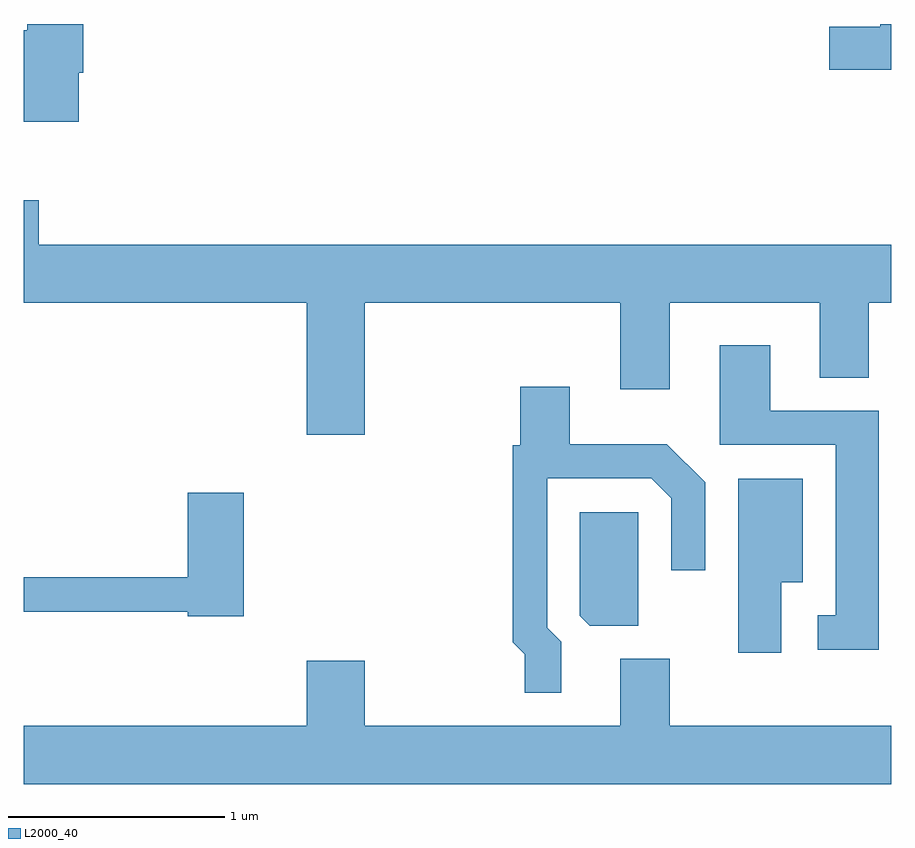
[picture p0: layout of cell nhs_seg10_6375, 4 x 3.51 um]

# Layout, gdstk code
import gdstk
lib = gdstk.Library(unit=1e-6, precision=1e-09)
def P(c, l, *ps):  # polygons
    for p in ps: c.add(gdstk.Polygon(p, *l))
L2000_40 = (2000, 40)

nhs_seg10_6375 = lib.new_cell('nhs_seg10_6375')
P(nhs_seg10_6375, L2000_40, [(377.611,2128.522),(377.561,2128.522),(377.561,2128.509),(377.326,2128.509),(377.326,2128.311),(377.611,2128.311)],
  [(373.864,2128.296),(373.884,2128.296),(373.884,2128.522),(373.626,2128.522),(373.626,2128.494),(373.611,2128.494),(373.611,2128.071),(373.864,2128.071)],
  [(375.184,2127.236),(376.361,2127.236),(376.361,2126.836),(376.589,2126.836),(376.589,2127.236),(377.281,2127.236),(377.281,2126.891),(377.509,2126.891),(377.509,2127.236),(377.611,2127.236),(377.611,2127.504),(373.679,2127.504),(373.679,2127.709),(373.611,2127.709),(373.611,2127.236),(374.916,2127.236),(374.916,2126.626),(375.184,2126.626)],
  [(377.554,2126.739),(377.054,2126.739),(377.054,2127.039),(376.821,2127.039),(376.821,2126.581),(377.356,2126.581),(377.356,2125.794),(377.273,2125.794),(377.273,2125.636),(377.554,2125.636)],
  [(376.089,2125.672),(376.024,2125.737),(376.024,2126.426),(376.504,2126.426),(376.596,2126.334),(376.596,2126.003),(376.754,2126.003),(376.754,2126.407),(376.577,2126.584),(376.129,2126.584),(376.129,2126.849),(375.901,2126.849),(375.901,2126.579),(375.866,2126.579),(375.866,2125.669),(375.921,2125.614),(375.921,2125.438),(376.089,2125.438)],
  [(377.104,2125.946),(377.204,2125.946),(377.204,2126.424),(376.906,2126.424),(376.906,2125.621),(377.104,2125.621)],
  [(374.624,2126.359),(374.366,2126.359),(374.366,2125.969),(373.611,2125.969),(373.611,2125.811),(374.366,2125.811),(374.366,2125.791),(374.624,2125.791)],
  [(376.444,2126.269),(376.176,2126.269),(376.176,2125.792),(376.222,2125.746),(376.444,2125.746)],
  [(377.611,2125.284),(376.589,2125.284),(376.589,2125.594),(376.361,2125.594),(376.361,2125.284),(375.184,2125.284),(375.184,2125.584),(374.916,2125.584),(374.916,2125.284),(373.611,2125.284),(373.611,2125.016),(377.611,2125.016)])

lib.write_gds('nhs_seg10_6375.gds')
